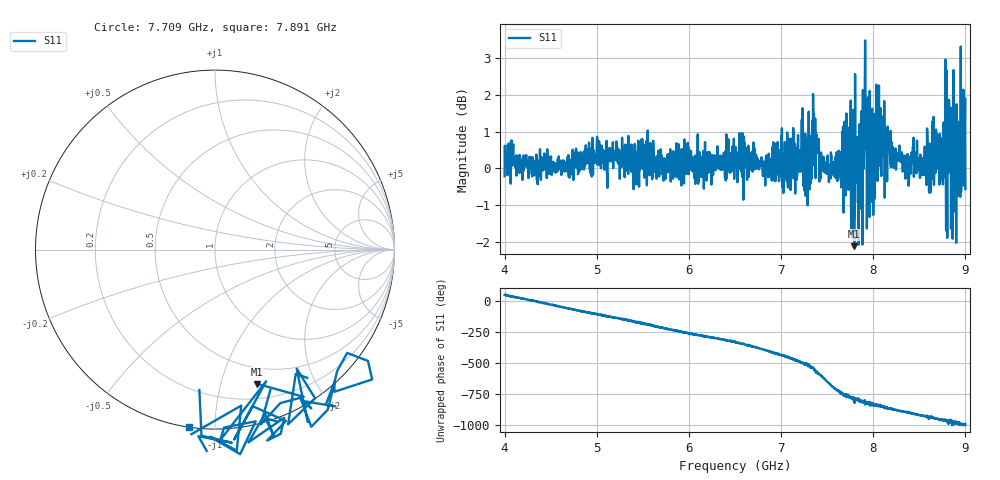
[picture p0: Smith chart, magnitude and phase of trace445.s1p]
! Created with skrf 1.8.0 (http://scikit-rf.org).
# Hz S RI R 50.0
!freq ReS11 ImS11
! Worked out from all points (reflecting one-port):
!   1601 points, 4 GHz to 9 GHz, reference 50 ohm
!   lowest |S11| = -2.1 dB at 7.794 GHz (marker M1), VSWR 8.24, Z = 16.8 - j65.3 ohm
!   phase of S11 starts at 51 deg and turns -1046 deg over the sweep
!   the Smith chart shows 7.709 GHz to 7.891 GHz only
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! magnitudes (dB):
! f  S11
! 4 GHz  -0.2
! 4.069 GHz  0.7
! 4.625 GHz  -0.1
! 5.25 GHz  -0.3
! 5.875 GHz  -0.1
! 6.5 GHz  0.4
! 6.825 GHz  -0.1
! 7.125 GHz  0.5
! 7.209 GHz  0.5
! 7.306 GHz  0.9
! 7.359 GHz  1.0
! 7.441 GHz  0.2
! 7.594 GHz  -0.2
! 7.731 GHz  -0.6
! 7.75 GHz  -0.2
! 7.769 GHz  0.0
! 7.794 GHz  -2.1
! 7.859 GHz  1.0
! 7.894 GHz  0.3
! 7.928 GHz  1.1
! 7.956 GHz  -0.3
! 8.097 GHz  0.6
! 8.375 GHz  0.1
! 8.616 GHz  0.6
! 8.819 GHz  -0.1
! 8.869 GHz  -0.7
! 8.972 GHz  0.8
! 9 GHz  -0.6
